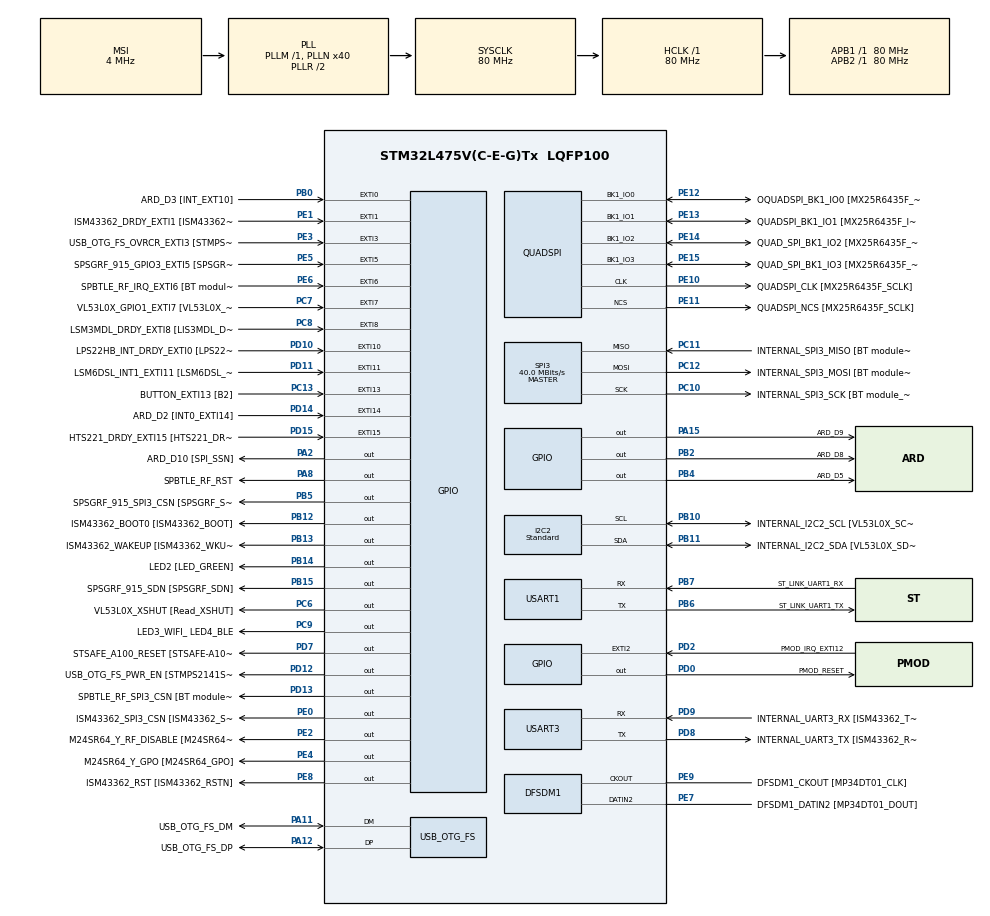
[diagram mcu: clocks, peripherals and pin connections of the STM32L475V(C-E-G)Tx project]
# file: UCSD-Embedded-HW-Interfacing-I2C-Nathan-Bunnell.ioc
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PD12.GPIO_Label=USB_OTG_FS_PWR_EN [STMPS2141STR_EN]
SPI3.Direction=SPI_DIRECTION_2LINES
SPI3.VirtualType=VM_MASTER
QUADSPI.ClockPrescaler=2
PB10.Mode=I2C
PC12.Signal=SPI3_MOSI
PB14.GPIO_Label=LED2 [LED_GREEN]
PC6.GPIO_Label=VL53L0X_XSHUT [Read_XSHUT]
PA6.GPIO_Label=ARD_D12 [SPI1_MISO]
PB6.GPIO_Label=ST_LINK_UART1_TX
PA15\ (JTDI).Signal=GPIO_Output
PC15-OSC32_OUT\ (PC15).Mode=LSE-External-Oscillator
PB13.Signal=GPIO_Output
PD6.GPIO_Label=PMOD_UART2_RX
PE6.GPIO_Label=SPBTLE_RF_IRQ_EXTI6 [BT module_SPI_IRQ]
RCC.SYSCLKSource=RCC_SYSCLKSOURCE_PLLCLK
PC14-OSC32_IN\ (PC14).Mode=LSE-External-Oscillator
SH.ADCx_IN16.0=ADC1_IN16
USART3.VirtualMode-Asynchronous=VM_ASYNC
PA14\ (JTCK-SWCLK).Signal=SYS_JTCK-SWCLK
PD4.Signal=USART2_RTS
I2C2.I2C_Speed_Mode=I2C_Standard
RCC.APB2TimFreq_Value=80000000
Dma.I2C2_TX.0.MemDataAlignment=DMA_MDATAALIGN_BYTE
PB6.Signal=USART1_TX
PC7.Signal=GPXTI7
PB6.Mode=Asynchronous
PC3.Signal=ADCx_IN4
PD0.Signal=GPIO_Output
PD8.Signal=USART3_TX
PE5.Signal=GPXTI5
PE1.Signal=GPXTI1
QUADSPI.FlashSize=23
Dma.I2C2_RX.1.Mode=DMA_NORMAL
NVIC.EXTI15_10_IRQn=true\:0\:0\:false\:false\:true\:true\:true
PB2.Signal=GPIO_Output
PD1.GPIO_Label=PMOD_SPI2_SCK
PB12.GPIO_Label=ISM43362_BOOT0 [ISM43362_BOOT]
PC4.GPIO_Label=ARD_A1 [ADC]
PE9.Signal=S_CKOUTDFSDM1
PB1.GPIO_Label=ARD_D6 [ADC1_IN6]
PE4.GPIO_Label=M24SR64_Y_GPO [M24SR64_GPO]
PE2.Signal=GPIO_Output
PA8.Signal=GPIO_Output
PE13.Mode=Single Bank
PE10.Signal=QUADSPI_CLK
PA0.Signal=UART4_TX
Mcu.Package=LQFP100
PB9.Signal=I2C1_SDA
PB1.Signal=ADCx_IN16
SPI3.Mode=SPI_MODE_MASTER
SH.ADCx_IN14.0=ADC1_IN14
PD12.Signal=GPIO_Output
PA10.Signal=USB_OTG_FS_ID
PE12.GPIO_Label=OQUADSPI_BK1_IO0 [MX25R6435F_IO0]
PC11.Mode=Full_Duplex_Master
Dma.I2C2_TX.0.Direction=DMA_MEMORY_TO_PERIPH
SH.ADCx_IN9.0=ADC1_IN9
Dma.I2C2_RX.1.PeriphInc=DMA_PINC_DISABLE
RCC.APB1TimFreq_Value=80000000
Dma.I2C2_RX.1.MemDataAlignment=DMA_MDATAALIGN_BYTE
NVIC.DMA1_Channel4_IRQn=true\:0\:0\:false\:false\:true\:false\:true
PA13\ (JTMS-SWDIO).Signal=SYS_JTMS-SWDIO
PE10.GPIO_Label=QUADSPI_CLK [MX25R6435F_SCLK]
PA4.GPIO_Label=ARD_D7
PD15.Signal=GPXTI15
PE12.Mode=Single Bank
Dma.I2C2_TX.0.Mode=DMA_NORMAL
PD9.GPIO_Label=INTERNAL_UART3_RX [ISM43362_TX]
PA9.GPIO_Label=USB_OTG_FS_VBUS [STMPS2141STR_OUT]
PC13.Signal=GPXTI13
PD3.Signal=USART2_CTS
PC6.Signal=GPIO_Output
PE10.Mode=Single Bank
PC2.Signal=ADCx_IN3
PB11.GPIO_Label=INTERNAL_I2C2_SDA [VL53L0X_SDA]
PD7.Signal=GPIO_Output
PD1.Signal=SPI2_SCK
PA11.GPIO_Label=USB_OTG_FS_DM
PC0.Signal=ADCx_IN1
PD10.Signal=GPXTI10
PB8.GPIO_Label=ARD_D15 [I2C1_SCL]
PA8.GPIO_Label=SPBTLE_RF_RST
PB11.Mode=I2C
PE8.GPIO_Label=ISM43362_RST [ISM43362_RSTN]
PA9.Signal=USB_OTG_FS_VBUS
PE9.GPIO_Label=DFSDM1_CKOUT [MP34DT01_CLK]
PD8.Mode=Asynchronous
PB10.Signal=I2C2_SCL
PB14.Signal=GPIO_Output
Dma.I2C2_RX.1.Instance=DMA1_Channel5
PA5.Signal=SPI1_SCK
PC12.Mode=Full_Duplex_Master
PE1.GPIO_Label=ISM43362_DRDY_EXTI1 [ISM43362_DATARDY]
PE14.Signal=QUADSPI_BK1_IO2
PE15.Signal=QUADSPI_BK1_IO3
Dma.I2C2_RX.1.Direction=DMA_PERIPH_TO_MEMORY
PB15.GPIO_Label=SPSGRF_915_SDN [SPSGRF_SDN]
PE8.Signal=GPIO_Output
Dma.I2C2_TX.0.Instance=DMA1_Channel4
PA1.GPIO_Label=ARD_D0 [UART4_RX]
SH.ADCx_IN4.0=ADC1_IN4
QUADSPI.FifoThreshold=4
PC7.GPIO_Label=VL53L0X_GPIO1_EXTI7 [VL53L0X_GPIO1]
PA13\ (JTMS-SWDIO).Mode=Serial_Wire
PA4.Signal=ADCx_IN9
PB5.Signal=GPIO_Output
PE13.GPIO_Label=QUADSPI_BK1_IO1 [MX25R6435F_IO1]
PA5.GPIO_Label=ARD_D13 [SPI1_SCK]
PD11.Signal=GPXTI11
PE5.GPIO_Label=SPSGRF_915_GPIO3_EXTI5 [SPSGRF_GPIO_3]
PC12.GPIO_Label=INTERNAL_SPI3_MOSI [BT module_SPI_MOSI] [ISM43362_MOSI]
PA11.Signal=USB_OTG_FS_DM
ProjectManager.HeapSize=0x200
NVIC.PriorityGroup=NVIC_PRIORITYGROUP_4
PE3.Signal=GPXTI3
PC3.GPIO_Label=ARD_A2 [ADC]
PB4\ (NJTRST).GPIO_Label=ARD_D5
Dma.I2C2_TX.0.MemInc=DMA_MINC_ENABLE
PD2.Signal=GPXTI2
PB0.Signal=GPXTI0
PC1.Signal=ADCx_IN2
PD2.GPIO_Label=PMOD_IRQ_EXTI12
PE15.Mode=Single Bank
Mcu.Family=STM32L4
RCC.CortexFreq_Value=80000000
NVIC.DMA1_Channel5_IRQn=true\:0\:0\:false\:false\:true\:false\:true
Dma.I2C2_TX.0.Priority=DMA_PRIORITY_LOW
PE11.GPIO_Label=QUADSPI_NCS [MX25R6435F_SCLK]
SH.ADCx_IN2.0=ADC1_IN2
PC10.Signal=SPI3_SCK
I2C2.Timing=0x10909CEC
PA0.GPIO_Label=ARD_D1 [UART4_TX]
PC0.GPIO_Label=ARD_A5 [ADC]
PD0.GPIO_Label=PMOD_RESET
PA11.Mode=Device_Only
PB0.GPIO_Label=ARD_D3 [INT_EXT10]
PC13.GPIO_Label=BUTTON_EXTI13 [B2]
PB13.GPIO_Label=ISM43362_WAKEUP [ISM43362_WKUP]
PB11.Signal=I2C2_SDA
PB15.Signal=GPIO_Output
PD9.Mode=Asynchronous
ProjectManager.StackSize=0x400
PB3\ (JTDO-TRACESWO).Signal=SYS_JTDO-SWO
PD13.Signal=GPIO_Output
PA12.Signal=USB_OTG_FS_DP
PE11.Mode=Single Bank
PD11.GPIO_Label=LSM6DSL_INT1_EXTI11 [LSM6DSL_INT1]
RCC.HCLKFreq_Value=80000000
SH.ADCx_IN3.0=ADC1_IN3
Dma.I2C2_RX.1.MemInc=DMA_MINC_ENABLE
PB5.PinState=GPIO_PIN_SET
RCC.AHBFreq_Value=80000000
RCC.HSE_VALUE=8000000
PE13.Signal=QUADSPI_BK1_IO1
PC11.GPIO_Label=INTERNAL_SPI3_MISO [BT module_SPI_MISO] [ISM43362_MISO]
PA10.GPIO_Label=USB_OTG_FS_ID
PB7.Signal=USART1_RX
PE4.Signal=GPIO_Output
QUADSPI.SampleShifting=QSPI_SAMPLE_SHIFTING_HALFCYCLE
PD7.GPIO_Label=STSAFE_A100_RESET [STSAFE-A100_RESET]
PB7.GPIO_Label=ST_LINK_UART1_RX
PD13.GPIO_Label=SPBTLE_RF_SPI3_CSN [BT module_SPI_CS]
PA6.Signal=SPI1_MISO
PD5.GPIO_Label=PMOD_UART2_TX
PA2.GPIO_Label=ARD_D10 [SPI_SSN]
USB_OTG_FS.VirtualMode=Device_Only
PE0.GPIO_Label=ISM43362_SPI3_CSN [ISM43362_SSN]
SH.ADCx_IN1.0=ADC1_IN1
PB5.GPIO_Label=SPSGRF_915_SPI3_CSN [SPSGRF_SPI_CS]
Dma.Request1=I2C2_RX
PC5.Signal=ADCx_IN14
PD3.GPIO_Label=PMOD_UART2_CTS
PE7.Signal=S_DATAIN2DFSDM1
PD6.Signal=USART2_RX
Dma.Request0=I2C2_TX
PE2.GPIO_Label=M24SR64_Y_RF_DISABLE [M24SR64_RFDIS]
PC2.GPIO_Label=ARD_A3 [ADC]
RCC.PLLSAI1N=24
PA3.Signal=S_TIM2_CH4
RCC.MSI_VALUE=4000000
PA14\ (JTCK-SWCLK).Mode=Serial_Wire
SH.ADCx_IN13.0=ADC1_IN13
PD15.GPIO_Label=HTS221_DRDY_EXTI15 [HTS221_DRDY]
PB9.GPIO_Label=ARD_D14 [I2C1_SDA]
PC10.GPIO_Label=INTERNAL_SPI3_SCK [BT module_SPI_SCLK] [ISM43362_SCK]
PC9.GPIO_Label=LED3_WIFI_ LED4_BLE
PC11.Signal=SPI3_MISO
PC8.Signal=GPXTI8
PC4.Signal=ADCx_IN13
PC10.Mode=Full_Duplex_Master
SH.S_DATAIN2DFSDM1.0=DFSDM1_DATIN2,PDM_SPI_Input_from_ch12_and_Internal_Clock
PE14.GPIO_Label=QUAD_SPI_BK1_IO2 [MX25R6435F_IO2]
PC15-OSC32_OUT\ (PC15).Signal=RCC_OSC32_OUT
PD9.Signal=USART3_RX
PD5.Signal=USART2_TX
PA14\ (JTCK-SWCLK).GPIO_Label=SYS_JTCK_SWCLK
PB3\ (JTDO-TRACESWO).GPIO_Label=SYS_JTD0_SWO
Dma.I2C2_TX.0.PeriphInc=DMA_PINC_DISABLE
PA12.GPIO_Label=USB_OTG_FS_DP
PD8.GPIO_Label=INTERNAL_UART3_TX [ISM43362_RX]
PC8.GPIO_Label=LSM3MDL_DRDY_EXTI8 [LIS3MDL_DRDY]
USART1.VirtualMode-Asynchronous=VM_ASYNC
PE0.PinState=GPIO_PIN_SET
PE15.GPIO_Label=QUAD_SPI_BK1_IO3 [MX25R6435F_IO3]
ProjectManager.TargetToolchain=STM32CubeIDE
PB10.GPIO_Label=INTERNAL_I2C2_SCL [VL53L0X_SCL]
RCC.USBFreq_Value=48000000
PD10.GPIO_Label=LPS22HB_INT_DRDY_EXTI0 [LPS22HB_INT_DRDY] 
PE11.Signal=QUADSPI_NCS
PA1.Signal=UART4_RX
Dma.I2C2_RX.1.PeriphDataAlignment=DMA_PDATAALIGN_BYTE
board=B-L475E-IOT01A1
RCC.VCOOutputFreq_Value=160000000
RCC.APB2Freq_Value=80000000
SPI3.CalculateBaudRate=40.0 MBits/s
PA13\ (JTMS-SWDIO).GPIO_Label=SYS_JTMS_SWDIO
PD4.GPIO_Label=PMOD_UART2_RTS
PE14.Mode=Single Bank
SH.S_CKOUTDFSDM1.0=DFSDM1_CKOUT,CKOUT
SH.S_CKOUTDFSDM1.1=DFSDM1_CKOUT,PDM_SPI_Input_from_ch12_and_Internal_Clock
RCC.ADCFreq_Value=48000000
PC1.GPIO_Label=ARD_A4 [ADC]
PD14.GPIO_Label=ARD_D2 [INT0_EXTI14]
PE6.Signal=GPXTI6
PA15\ (JTDI).GPIO_Label=ARD_D9
I2C2.Speed=100
Mcu.Name=STM32L475V(C-E-G)Tx
PE0.Signal=GPIO_Output
PE7.GPIO_Label=DFSDM1_DATIN2 [MP34DT01_DOUT]
PE12.Signal=QUADSPI_BK1_IO0
PA2.Signal=GPIO_Output
PD14.Signal=GPXTI14
RCC.SYSCLKFreq_VALUE=80000000
PA7.GPIO_Label=ARD_D11 [SPI1_MOSI]
PA12.Mode=Device_Only
PC13.GPIO_ModeDefaultEXTI=GPIO_MODE_IT_FALLING
PC5.GPIO_Label=ARD_A0 [ADC]
PC14-OSC32_IN\ (PC14).Signal=RCC_OSC32_IN
PB7.Mode=Asynchronous
NVIC.EXTI9_5_IRQn=true\:0\:0\:false\:false\:true\:true\:true
PB2.GPIO_Label=ARD_D8
SH.S_TIM2_CH4.0=TIM2_CH4
NVIC.I2C2_EV_IRQn=true\:0\:0\:false\:false\:true\:true\:true
RCC.HSI_VALUE=16000000
RCC.PLLN=40
Dma.I2C2_TX.0.PeriphDataAlignment=DMA_PDATAALIGN_BYTE
PB8.Signal=I2C1_SCL
PE3.GPIO_Label=USB_OTG_FS_OVRCR_EXTI3 [STMPS2141STR_FAULT]
PC9.Signal=GPIO_Output
Dma.I2C2_RX.1.Priority=DMA_PRIORITY_LOW
PD13.PinState=GPIO_PIN_SET
RCC.APB1Freq_Value=80000000
PB12.Signal=GPIO_Output
PA3.GPIO_Label=ARD_D4
PA7.Signal=SPI1_MOSI
PB4\ (NJTRST).Signal=GPIO_Output

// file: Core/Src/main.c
/* USER CODE BEGIN Header */
/**
  ******************************************************************************
  * @file           : main.c
  * @brief          : Main program body
  ******************************************************************************
  * @attention
  *
  * <h2><center>&copy; Copyright (c) 2021 STMicroelectronics.
  * All rights reserved.</center></h2>
  *
  * This software component is licensed by ST under BSD 3-Clause license,
  * the "License"; You may not use this file except in compliance with the
  * License. You may obtain a copy of the License at:
  *                        opensource.org/licenses/BSD-3-Clause
  *
  ******************************************************************************
  */
/* USER CODE END Header */
#include "main.h"

/* USER CODE BEGIN Includes */

#include <stdio.h>
#include <string.h>

/* USER CODE END Includes */

/* USER CODE BEGIN PD */

// Define R/W addresses for temp sensor
#define HST221_READ_ADDRESS 0xbf
#define HST221_WRITE_ADDRESS 0xbe

/* USER CODE END PD */

DFSDM_Channel_HandleTypeDef hdfsdm1_channel1;

I2C_HandleTypeDef hi2c2;
DMA_HandleTypeDef hdma_i2c2_tx;
DMA_HandleTypeDef hdma_i2c2_rx;

QSPI_HandleTypeDef hqspi;

SPI_HandleTypeDef hspi3;

UART_HandleTypeDef huart1;
UART_HandleTypeDef huart3;

PCD_HandleTypeDef hpcd_USB_OTG_FS;

void SystemClock_Config(void);
static void MX_GPIO_Init(void);
static void MX_DMA_Init(void);
static void MX_DFSDM1_Init(void);
static void MX_I2C2_Init(void);
static void MX_QUADSPI_Init(void);
static void MX_SPI3_Init(void);
static void MX_USART1_UART_Init(void);
static void MX_USART3_UART_Init(void);
static void MX_USB_OTG_FS_PCD_Init(void);
/* USER CODE BEGIN PFP */

static void HST221_pwr_en(void);
static void do_who_am_i(void);
static void do_temp_polling(void);
static void do_temp_interrupt(void);
static void do_temp_dma(void);
static void do_temp_interrupt_EXTI(void);

/* USER CODE END PFP */

/* USER CODE BEGIN 0 */

static void HST221_pwr_en(void)
{
    // Large-ish char buffer for strings sent over the console
    char buffer[100] = {0};

	// Configure control register 1 (CTRL_REG1, 0x20) bit 7 to enable one-shot
    uint8_t ctrlReg1 = 0x20;
    uint8_t ctrlData[] = {ctrlReg1, (1 << 7)};

    // Send the target register to the device and get status back
    HAL_StatusTypeDef status;
    status = HAL_I2C_Master_Transmit(&hi2c2, HST221_WRITE_ADDRESS, ctrlData, sizeof(ctrlData), 1000);

    // Print status results over UART1 to console session
    snprintf(buffer, sizeof(buffer), "\n(HST221 Power-Down Control) HAL_I2C_Master_Transmit: status %u\n", status);
    HAL_UART_Transmit(&huart1, (uint8_t*) buffer, strlen(buffer), 1000);

    // Read response back to get value of WHO_AM_I register
	uint8_t mode = 0xff;    // Default value should be 0 according to datasheet, target is 1 for enabled
	status = HAL_I2C_Master_Receive(&hi2c2, HST221_READ_ADDRESS, &mode, sizeof(mode), 1000);

	// Print status results and response value over UART1 to console session
	snprintf(buffer, sizeof(buffer), "(HST221 Power-Down Control) HAL_I2C_Master_Receive status: %u; mode: 0x%x\n", status, mode);
	HAL_UART_Transmit(&huart1, (uint8_t*) buffer, strlen(buffer), 1000);
}

static void do_who_am_i(void)
{
    // Declare address of the device's WHO_AM_I register
    uint8_t whoAmIReg = 0xf;

    // Send the target register to the device and get status back
    HAL_StatusTypeDef status;
    status = HAL_I2C_Master_Transmit(&hi2c2, HST221_WRITE_ADDRESS, &whoAmIReg, sizeof(whoAmIReg), 1000);

    // Print status results over UART1 to console session
    char buffer[100] = {0};
    snprintf(buffer, sizeof(buffer), "\tHAL_I2C_Master_Transmit status: %u\n", status);
    HAL_UART_Transmit(&huart1, (uint8_t*) buffer, strlen(buffer), 1000);

    // Read response back to get value of WHO_AM_I register
    uint8_t data = 0xff;    // Default value should be 0xbc according to datasheet
    status = HAL_I2C_Master_Receive(&hi2c2, HST221_READ_ADDRESS, &data, sizeof(data), 1000);

    // Print status results and response value over UART1 to console session
    snprintf(buffer, sizeof(buffer), "\tHAL_I2C_Master_Receive status: %u; data: 0x%x\n\n", status, data);
    HAL_UART_Transmit(&huart1, (uint8_t*) buffer, strlen(buffer), 1000);
}

static void do_temp_polling(void)
{
    // Large-ish char buffer for strings sent over the console
    char buffer[100] = {0};

	// Configure control register 2 (CTRL_REG2, 0x21) bit 0 to enable one-shot
    uint8_t ctrlReg2 = 0x21;
    uint8_t ctrlData[] = {ctrlReg2, (1 << 0)};

    // Send the target register to the device and get status back
    HAL_StatusTypeDef status;
    status = HAL_I2C_Master_Transmit(&hi2c2, HST221_WRITE_ADDRESS, ctrlData, sizeof(ctrlData), 1000);

    // Print status results over UART1 to console session
    snprintf(buffer, sizeof(buffer), "\t(One-shot enabled): HAL_I2C_Master_Transmit: status %u\n", status);
    HAL_UART_Transmit(&huart1, (uint8_t*) buffer, strlen(buffer), 1000);

    // Define status register (STATUS_REG2, 0x27) bit 0 to monitor for new sample available
    uint8_t statusReg = 0x27;
    uint8_t sampleReady = 0;

    // Loiter for a bit to allow time for conversion to complete and be made available
    uint8_t count = 0;
    while (count < 10)  // 10 is an arbitrary "long enough" value, this wouldn't always be great real-world practice
    {
        // Send the address of the status register and report it over the console
        status = HAL_I2C_Master_Transmit(&hi2c2, HST221_WRITE_ADDRESS, &statusReg, sizeof(statusReg), 1000);
        snprintf(buffer, sizeof(buffer), "\t[%d] (status register): HAL_I2C_Master_Transmit: status %u\n", count, status);
        HAL_UART_Transmit(&huart1, (uint8_t*) buffer, strlen(buffer), 1000);

        // Read back the value of the status register and report it over the console
        status = HAL_I2C_Master_Receive(&hi2c2, HST221_READ_ADDRESS, (uint8_t *)&sampleReady, sizeof(sampleReady), 1000);
        snprintf(buffer, sizeof(buffer), "\tStatus register: 0x%02x\n", sampleReady);
        HAL_UART_Transmit(&huart1, (uint8_t*) buffer, strlen(buffer), 1000);

        // If the new sample is ready, report it to the console and break out of while-loop...
        if (sampleReady & 0x01)
        {
            snprintf(buffer, sizeof(buffer), "\tNew Temperature Sample Available!\n");
            HAL_UART_Transmit(&huart1, (uint8_t*) buffer, strlen(buffer), 1000);
            break;
        }

        // Else wait for a bit, increment the counter, and keep looping
        HAL_Delay(100);
        count++;
    }

    // With new sample ready, practice solutions implemented with reading sequentially from
    //  the LSB and MSB registers (0x2a and 0x2b) as well as via auto-increment
    static uint8_t toggle = 1;

    if (toggle)
    {
        toggle = 0;

        // Reading the lower half of the temperature register
        // Send target address
        uint8_t tempRegLSB = 0x2a;
        status = HAL_I2C_Master_Transmit(&hi2c2, HST221_WRITE_ADDRESS, &tempRegLSB, sizeof(tempRegLSB), 1000);
        snprintf(buffer, sizeof(buffer), "\t(LSB): HAL_I2C_Master_Transmit: status: %u\n", status);
        HAL_UART_Transmit(&huart1, (uint8_t*) buffer, strlen(buffer), 1000);

        // Read response back and print over console
        uint8_t tempDataLSB = 0xff; // Junk default value
        status = HAL_I2C_Master_Receive(&hi2c2, HST221_READ_ADDRESS, (uint8_t *)&tempDataLSB, sizeof(tempDataLSB), 1000);
        snprintf(buffer, sizeof(buffer), "\t(LSB): HAL_I2C_Master_Receive: status: %u; LSB data: 0x%02x\n", status, tempDataLSB);
        HAL_UART_Transmit(&huart1, (uint8_t*) buffer, strlen(buffer), 1000);

        // Reading the upper half of the temperature register
        // Send target address
        uint8_t tempRegMSB = 0x2b;
        status = HAL_I2C_Master_Transmit(&hi2c2, HST221_WRITE_ADDRESS, &tempRegMSB, sizeof(tempRegMSB), 1000);
        snprintf(buffer, sizeof(buffer), "\t(MSB): HAL_I2C_Master_Transmit: status: %u\n", status);
        HAL_UART_Transmit(&huart1, (uint8_t*) buffer, strlen(buffer), 1000);

        // Read response back and print over console
        uint8_t tempDataMSB = 0xff; // Junk default value
        status = HAL_I2C_Master_Receive(&hi2c2, HST221_READ_ADDRESS, (uint8_t *)&tempDataMSB, sizeof(tempDataMSB), 1000);
        snprintf(buffer, sizeof(buffer), "\t(MSB): HAL_I2C_Master_Receive: status: %u; MSB data: 0x%02x\n\n", status, tempDataMSB);
        HAL_UART_Transmit(&huart1, (uint8_t*) buffer, strlen(buffer), 1000);
    }
    else
    {
        toggle = 1;

        // Reading the lower half of the temperature register with auto-increment enabled
        // Send target address (OR'ing with 0x80 enables auto-inc)
        uint8_t tempRegLSB = 0x2a | 0x80;
        status = HAL_I2C_Master_Transmit(&hi2c2, HST221_WRITE_ADDRESS, &tempRegLSB, sizeof(tempRegLSB), 1000);
        snprintf(buffer, sizeof(buffer), "\t(Auto-increment): HAL_I2C_Master_Transmit: status: %u\n", status);
        HAL_UART_Transmit(&huart1, (uint8_t*) buffer, strlen(buffer), 1000);

        // Read response back for both registers and print over console
        uint16_t tempData = 0xbeef; // Junk default value (ALSO REALLY HOT!)
        status = HAL_I2C_Master_Receive(&hi2c2, HST221_READ_ADDRESS, (uint8_t *)&tempData, sizeof(tempData), 1000);
        snprintf(buffer, sizeof(buffer), "\t(Auto-increment): HAL_I2C_Master_Receive: status: %u; temperature data: 0x%04x\n\n", status, tempData);
        HAL_UART_Transmit(&huart1, (uint8_t*) buffer, strlen(buffer), 1000);
    }

}

// Define a pair of IRQ status flags and the I2C interrupt callback functions
static uint8_t irqCompleteTX = 0;
static uint8_t irqCompleteRX = 0;

// Used for IT/DMA access
uint16_t tempData = 0xffff; // Junk default value (ALSO REALLY HOT!)

void HAL_I2C_MasterTxCpltCallback(I2C_HandleTypeDef *hi2c)
{
    // Indicate something on the board
    HAL_GPIO_TogglePin(LED2_GPIO_Port, LED2_Pin);

    // Set status flag
    irqCompleteTX = 1;
}

void HAL_I2C_MasterRxCpltCallback(I2C_HandleTypeDef *hi2c)
{
    // Indicate something on the board
    HAL_GPIO_TogglePin(LED2_GPIO_Port, LED2_Pin);

    // Set status flag
    irqCompleteRX = 1;
}

static void do_temp_interrupt(void)
{
	// Clear flags
	irqCompleteTX = 0;
	irqCompleteRX = 0;

    // Large-ish char buffer for strings sent over the console
    char buffer[100] = {0};

	// Configure control register 2 (CTRL_REG2, 0x21) bit 0 to enable one-shot
    uint8_t ctrlReg2 = 0x21;
    uint8_t ctrlData[] = {ctrlReg2, 0x01};

    // Send the target register to the device and get status back using the *_IT function
    HAL_StatusTypeDef status;
    status = HAL_I2C_Master_Transmit_IT(&hi2c2, HST221_WRITE_ADDRESS, ctrlData, sizeof(ctrlData));

    // Print status results over UART1 to console session
    snprintf(buffer, sizeof(buffer), "\t(One-shot enabled): HAL_I2C_Master_Transmit_IT: status %u\n", status);
    HAL_UART_Transmit(&huart1, (uint8_t*) buffer, strlen(buffer), 1000);

    // Wait for interrupt to complete
	while (irqCompleteTX == 0)
	{
		HAL_Delay(1000);
	}

	// Clear flag
	irqCompleteTX = 0;

    // Reading the lower half of the temperature register with auto-increment enabled
	// Send target address (OR'ing with 0x80 enables auto-inc)
	uint8_t tempRegLSB = 0x2a | 0x80;
	status = HAL_I2C_Master_Transmit_IT(&hi2c2, HST221_WRITE_ADDRESS, &tempRegLSB, sizeof(tempRegLSB));
	snprintf(buffer, sizeof(buffer), "\t(Auto-increment): HAL_I2C_Master_Transmit_IT: status: %u\n", status);
	HAL_UART_Transmit(&huart1, (uint8_t*) buffer, strlen(buffer), 1000);

    // Wait for interrupt to complete
	while (irqCompleteTX == 0)
	{
		HAL_Delay(1000);
	}

	// Read response back for both registers and print over console
	status = HAL_I2C_Master_Receive_IT(&hi2c2, HST221_READ_ADDRESS, (uint8_t *)&tempData, sizeof(tempData));
	snprintf(buffer, sizeof(buffer), "\t(Auto-increment): HAL_I2C_Master_Receive_IT: status: %u; temperature data: 0x%04x\n\n", status, tempData);
	HAL_UART_Transmit(&huart1, (uint8_t*) buffer, strlen(buffer), 1000);
}

static void do_temp_dma(void)
{
	// Clear flags
    irqCompleteTX = 0;
    irqCompleteRX = 0;

    // Large-ish char buffer for strings sent over the console
    char buffer[100] = {0};

	// Configure control register 2 (CTRL_REG2, 0x21) bit 0 to enable one-shot
    uint8_t ctrlReg2 = 0x21;
    uint8_t ctrlData[] = {ctrlReg2, 0x01};

    // Send the target register to the device and get status back using the *_DMA function
    HAL_StatusTypeDef status;
    status = HAL_I2C_Master_Transmit_DMA(&hi2c2, HST221_WRITE_ADDRESS, ctrlData, sizeof(ctrlData));

    // Print status results over UART1 to console session
    snprintf(buffer, sizeof(buffer), "\t(One-shot enabled): HAL_I2C_Master_Transmit_DMA: status %u\n", status);
    HAL_UART_Transmit(&huart1, (uint8_t*) buffer, strlen(buffer), 1000);

    // Wait for interrupt to complete
	while (irqCompleteTX == 0)
	{
		HAL_Delay(100);
	}

	// Clear flag
	irqCompleteTX = 0;

    // Reading the lower half of the temperature register with auto-increment enabled
	// Send target address (OR'ing with 0x80 enables auto-inc)
	uint8_t tempRegLSB = 0x2a | 0x80;
	status = HAL_I2C_Master_Transmit_DMA(&hi2c2, HST221_WRITE_ADDRESS, &tempRegLSB, sizeof(tempRegLSB));
	snprintf(buffer, sizeof(buffer), "\t(Auto-increment): HAL_I2C_Master_Transmit_DMA: status: %u\n", status);
	HAL_UART_Transmit(&huart1, (uint8_t*) buffer, strlen(buffer), 1000);

    // Wait for interrupt to complete
    while (irqCompleteTX == 0)
    {
        HAL_Delay(100);
    }

    // Read response back for both registers and print over console
	status = HAL_I2C_Master_Receive_DMA(&hi2c2, HST221_READ_ADDRESS, (uint8_t *)&tempData, sizeof(tempData));
	snprintf(buffer, sizeof(buffer), "\t(Auto-increment): HAL_I2C_Master_Receive_DMA: status: %u; temperature data: 0x%04x\n\n", status, tempData);
	HAL_UART_Transmit(&huart1, (uint8_t*) buffer, strlen(buffer), 1000);
}

static void do_temp_interrupt_EXTI(void)
{
    ; // TO DO
}

/* USER CODE END 0 */

int main(void)
{

  /* MCU Configuration--------------------------------------------------------*/

  /* Reset of all peripherals, Initializes the Flash interface and the Systick. */
  HAL_Init();

  /* Configure the system clock */
  SystemClock_Config();

  /* Initialize all configured peripherals */
  MX_GPIO_Init();
  MX_DMA_Init();
  MX_DFSDM1_Init();
  MX_I2C2_Init();
  MX_QUADSPI_Init();
  MX_SPI3_Init();
  MX_USART1_UART_Init();
  MX_USART3_UART_Init();
  MX_USB_OTG_FS_PCD_Init();
  /* USER CODE BEGIN 2 */

  	// Enable the HST221 PD bit in CR1 to allow collection of samples
    HST221_pwr_en();

    // Header info for CLI
    char* cliHeader = "\nsimpleCLI Interface v0.2\n------------------------------\n";
    HAL_UART_Transmit(&huart1, (uint8_t*) cliHeader, strlen(cliHeader), 1000);

  /* USER CODE END 2 */

  /* Infinite loop */
    while (1)
    {

    /* USER CODE BEGIN 3 */

  	   /************************************
  	    * User Story 1 implementation begin:
  	    *
  	    * 	Define a simple CLI with options
  	    * 	for a who am i request, or a
        *   temperature read via polling,
        *   interrupt, or DMA read from the
        *   sensor over the I2C bus
  	    *
  	    ***********************************/

  	  // Define strings to structure prompt around
  	  char* cliPrompt = "Options:\n\t1: \"WHO AM I\" read\n\t2: Temperature read (polling mode)\n\t3: Temperature read (interrupt mode)\n\t4: Temperature read (DMA mode)\n\t5: *TODO* Temperature read (EXTI mode) *TODO*\r\n$> ";
  	  char* cliResponse = "Invalid input!\r\n";

  	  // Issue prompt
  	  HAL_UART_Transmit(&huart1, (uint8_t*) cliPrompt, strlen(cliPrompt), 1000);

  	  // Get the user selection and echo it on the terminal
  	  char cliInput;
  	  HAL_UART_Receive(&huart1, (uint8_t*) &cliInput, 1, HAL_MAX_DELAY);
  	  HAL_UART_Transmit(&huart1, (uint8_t*) &cliInput, 1, 1000);

  	  // Evaluate input
  	  switch (cliInput)
  	  {
          case '1':
              cliResponse = "\r\n\"WHO AM I\" request:\n";
              HAL_UART_Transmit(&huart1, (uint8_t*) cliResponse, strlen(cliResponse), 1000);
              do_who_am_i();
              break;

          case '2':
              cliResponse = "\r\nTemperature read (poll) request:\n";
              HAL_UART_Transmit(&huart1, (uint8_t*) cliResponse, strlen(cliResponse), 1000);
              do_temp_polling();
              break;

          case '3':
              cliResponse = "\r\nTemperature read (IT) request:\n";
              HAL_UART_Transmit(&huart1, (uint8_t*) cliResponse, strlen(cliResponse), 1000);
              do_temp_interrupt();
              break;

          case '4':
              cliResponse = "\r\nTemperature read (DMA) request:\n";
              HAL_UART_Transmit(&huart1, (uint8_t*) cliResponse, strlen(cliResponse), 1000);
              do_temp_dma();
              break;

          case '5':
              cliResponse = "\r\nTemperature read (EXTI) request:\n";
              HAL_UART_Transmit(&huart1, (uint8_t*) cliResponse, strlen(cliResponse), 1000);
              do_temp_interrupt_EXTI();
              break;

          default:
              HAL_UART_Transmit(&huart1, (uint8_t*) cliResponse, strlen(cliResponse), 1000);
              break;
  	  }

    }
  /* USER CODE END 3 */
}

void SystemClock_Config(void)
{
  RCC_OscInitTypeDef RCC_OscInitStruct = {0};
  RCC_ClkInitTypeDef RCC_ClkInitStruct = {0};
  RCC_PeriphCLKInitTypeDef PeriphClkInit = {0};

  /** Configure LSE Drive Capability
  */
  HAL_PWR_EnableBkUpAccess();
  __HAL_RCC_LSEDRIVE_CONFIG(RCC_LSEDRIVE_LOW);
  /** Initializes the RCC Oscillators according to the specified parameters
  * in the RCC_OscInitTypeDef structure.
  */
  RCC_OscInitStruct.OscillatorType = RCC_OSCILLATORTYPE_LSE|RCC_OSCILLATORTYPE_MSI;
  RCC_OscInitStruct.LSEState = RCC_LSE_ON;
  RCC_OscInitStruct.MSIState = RCC_MSI_ON;
  RCC_OscInitStruct.MSICalibrationValue = 0;
  RCC_OscInitStruct.MSIClockRange = RCC_MSIRANGE_6;
  RCC_OscInitStruct.PLL.PLLState = RCC_PLL_ON;
  RCC_OscInitStruct.PLL.PLLSource = RCC_PLLSOURCE_MSI;
  RCC_OscInitStruct.PLL.PLLM = 1;
  RCC_OscInitStruct.PLL.PLLN = 40;
  RCC_OscInitStruct.PLL.PLLP = RCC_PLLP_DIV7;
  RCC_OscInitStruct.PLL.PLLQ = RCC_PLLQ_DIV2;
  RCC_OscInitStruct.PLL.PLLR = RCC_PLLR_DIV2;
  if (HAL_RCC_OscConfig(&RCC_OscInitStruct) != HAL_OK)
  {
    Error_Handler();
  }
  /** Initializes the CPU, AHB and APB buses clocks
  */
  RCC_ClkInitStruct.ClockType = RCC_CLOCKTYPE_HCLK|RCC_CLOCKTYPE_SYSCLK
                              |RCC_CLOCKTYPE_PCLK1|RCC_CLOCKTYPE_PCLK2;
  RCC_ClkInitStruct.SYSCLKSource = RCC_SYSCLKSOURCE_PLLCLK;
  RCC_ClkInitStruct.AHBCLKDivider = RCC_SYSCLK_DIV1;
  RCC_ClkInitStruct.APB1CLKDivider = RCC_HCLK_DIV1;
  RCC_ClkInitStruct.APB2CLKDivider = RCC_HCLK_DIV1;

  if (HAL_RCC_ClockConfig(&RCC_ClkInitStruct, FLASH_LATENCY_4) != HAL_OK)
  {
    Error_Handler();
  }
  PeriphClkInit.PeriphClockSelection = RCC_PERIPHCLK_USART1|RCC_PERIPHCLK_USART3
                              |RCC_PERIPHCLK_I2C2|RCC_PERIPHCLK_DFSDM1
                              |RCC_PERIPHCLK_USB;
  PeriphClkInit.Usart1ClockSelection = RCC_USART1CLKSOURCE_PCLK2;
  PeriphClkInit.Usart3ClockSelection = RCC_USART3CLKSOURCE_PCLK1;
  PeriphClkInit.I2c2ClockSelection = RCC_I2C2CLKSOURCE_PCLK1;
  PeriphClkInit.Dfsdm1ClockSelection = RCC_DFSDM1CLKSOURCE_PCLK;
  PeriphClkInit.UsbClockSelection = RCC_USBCLKSOURCE_PLLSAI1;
  PeriphClkInit.PLLSAI1.PLLSAI1Source = RCC_PLLSOURCE_MSI;
  PeriphClkInit.PLLSAI1.PLLSAI1M = 1;
  PeriphClkInit.PLLSAI1.PLLSAI1N = 24;
  PeriphClkInit.PLLSAI1.PLLSAI1P = RCC_PLLP_DIV7;
  PeriphClkInit.PLLSAI1.PLLSAI1Q = RCC_PLLQ_DIV2;
  PeriphClkInit.PLLSAI1.PLLSAI1R = RCC_PLLR_DIV2;
  PeriphClkInit.PLLSAI1.PLLSAI1ClockOut = RCC_PLLSAI1_48M2CLK;
  if (HAL_RCCEx_PeriphCLKConfig(&PeriphClkInit) != HAL_OK)
  {
    Error_Handler();
  }
  /** Configure the main internal regulator output voltage
  */
  if (HAL_PWREx_ControlVoltageScaling(PWR_REGULATOR_VOLTAGE_SCALE1) != HAL_OK)
  {
    Error_Handler();
  }
  /** Enable MSI Auto calibration
  */
  HAL_RCCEx_EnableMSIPLLMode();
}

static void MX_DFSDM1_Init(void)
{

  hdfsdm1_channel1.Instance = DFSDM1_Channel1;
  hdfsdm1_channel1.Init.OutputClock.Activation = ENABLE;
  hdfsdm1_channel1.Init.OutputClock.Selection = DFSDM_CHANNEL_OUTPUT_CLOCK_SYSTEM;
  hdfsdm1_channel1.Init.OutputClock.Divider = 2;
  hdfsdm1_channel1.Init.Input.Multiplexer = DFSDM_CHANNEL_EXTERNAL_INPUTS;
  hdfsdm1_channel1.Init.Input.DataPacking = DFSDM_CHANNEL_STANDARD_MODE;
  hdfsdm1_channel1.Init.Input.Pins = DFSDM_CHANNEL_FOLLOWING_CHANNEL_PINS;
  hdfsdm1_channel1.Init.SerialInterface.Type = DFSDM_CHANNEL_SPI_RISING;
  hdfsdm1_channel1.Init.SerialInterface.SpiClock = DFSDM_CHANNEL_SPI_CLOCK_INTERNAL;
  hdfsdm1_channel1.Init.Awd.FilterOrder = DFSDM_CHANNEL_FASTSINC_ORDER;
  hdfsdm1_channel1.Init.Awd.Oversampling = 1;
  hdfsdm1_channel1.Init.Offset = 0;
  hdfsdm1_channel1.Init.RightBitShift = 0x00;
  if (HAL_DFSDM_ChannelInit(&hdfsdm1_channel1) != HAL_OK)
  {
    Error_Handler();
  }

}

static void MX_I2C2_Init(void)
{

  hi2c2.Instance = I2C2;
  hi2c2.Init.Timing = 0x10909CEC;
  hi2c2.Init.OwnAddress1 = 0;
  hi2c2.Init.AddressingMode = I2C_ADDRESSINGMODE_7BIT;
  hi2c2.Init.DualAddressMode = I2C_DUALADDRESS_DISABLE;
  hi2c2.Init.OwnAddress2 = 0;
  hi2c2.Init.OwnAddress2Masks = I2C_OA2_NOMASK;
  hi2c2.Init.GeneralCallMode = I2C_GENERALCALL_DISABLE;
  hi2c2.Init.NoStretchMode = I2C_NOSTRETCH_DISABLE;
  if (HAL_I2C_Init(&hi2c2) != HAL_OK)
  {
    Error_Handler();
  }
  /** Configure Analogue filter
  */
  if (HAL_I2CEx_ConfigAnalogFilter(&hi2c2, I2C_ANALOGFILTER_ENABLE) != HAL_OK)
  {
    Error_Handler();
  }
  /** Configure Digital filter
  */
  if (HAL_I2CEx_ConfigDigitalFilter(&hi2c2, 0) != HAL_OK)
  {
    Error_Handler();
  }

}

static void MX_QUADSPI_Init(void)
{

  /* QUADSPI parameter configuration*/
  hqspi.Instance = QUADSPI;
  hqspi.Init.ClockPrescaler = 2;
  hqspi.Init.FifoThreshold = 4;
  hqspi.Init.SampleShifting = QSPI_SAMPLE_SHIFTING_HALFCYCLE;
  hqspi.Init.FlashSize = 23;
  hqspi.Init.ChipSelectHighTime = QSPI_CS_HIGH_TIME_1_CYCLE;
  hqspi.Init.ClockMode = QSPI_CLOCK_MODE_0;
  if (HAL_QSPI_Init(&hqspi) != HAL_OK)
  {
    Error_Handler();
  }

}

static void MX_SPI3_Init(void)
{

  /* SPI3 parameter configuration*/
  hspi3.Instance = SPI3;
  hspi3.Init.Mode = SPI_MODE_MASTER;
  hspi3.Init.Direction = SPI_DIRECTION_2LINES;
  hspi3.Init.DataSize = SPI_DATASIZE_4BIT;
  hspi3.Init.CLKPolarity = SPI_POLARITY_LOW;
  hspi3.Init.CLKPhase = SPI_PHASE_1EDGE;
  hspi3.Init.NSS = SPI_NSS_SOFT;
  hspi3.Init.BaudRatePrescaler = SPI_BAUDRATEPRESCALER_2;
  hspi3.Init.FirstBit = SPI_FIRSTBIT_MSB;
  hspi3.Init.TIMode = SPI_TIMODE_DISABLE;
  hspi3.Init.CRCCalculation = SPI_CRCCALCULATION_DISABLE;
  hspi3.Init.CRCPolynomial = 7;
  hspi3.Init.CRCLength = SPI_CRC_LENGTH_DATASIZE;
  hspi3.Init.NSSPMode = SPI_NSS_PULSE_ENABLE;
  if (HAL_SPI_Init(&hspi3) != HAL_OK)
  {
    Error_Handler();
  }

}

static void MX_USART1_UART_Init(void)
{

  huart1.Instance = USART1;
  huart1.Init.BaudRate = 115200;
  huart1.Init.WordLength = UART_WORDLENGTH_8B;
  huart1.Init.StopBits = UART_STOPBITS_1;
  huart1.Init.Parity = UART_PARITY_NONE;
  huart1.Init.Mode = UART_MODE_TX_RX;
  huart1.Init.HwFlowCtl = UART_HWCONTROL_NONE;
  huart1.Init.OverSampling = UART_OVERSAMPLING_16;
  huart1.Init.OneBitSampling = UART_ONE_BIT_SAMPLE_DISABLE;
  huart1.AdvancedInit.AdvFeatureInit = UART_ADVFEATURE_NO_INIT;
  if (HAL_UART_Init(&huart1) != HAL_OK)
  {
    Error_Handler();
  }

}

static void MX_USART3_UART_Init(void)
{

  huart3.Instance = USART3;
  huart3.Init.BaudRate = 115200;
  huart3.Init.WordLength = UART_WORDLENGTH_8B;
  huart3.Init.StopBits = UART_STOPBITS_1;
  huart3.Init.Parity = UART_PARITY_NONE;
  huart3.Init.Mode = UART_MODE_TX_RX;
  huart3.Init.HwFlowCtl = UART_HWCONTROL_NONE;
  huart3.Init.OverSampling = UART_OVERSAMPLING_16;
  huart3.Init.OneBitSampling = UART_ONE_BIT_SAMPLE_DISABLE;
  huart3.AdvancedInit.AdvFeatureInit = UART_ADVFEATURE_NO_INIT;
  if (HAL_UART_Init(&huart3) != HAL_OK)
  {
    Error_Handler();
  }

}

static void MX_USB_OTG_FS_PCD_Init(void)
{

  hpcd_USB_OTG_FS.Instance = USB_OTG_FS;
  hpcd_USB_OTG_FS.Init.dev_endpoints = 6;
  hpcd_USB_OTG_FS.Init.speed = PCD_SPEED_FULL;
  hpcd_USB_OTG_FS.Init.phy_itface = PCD_PHY_EMBEDDED;
  hpcd_USB_OTG_FS.Init.Sof_enable = DISABLE;
  hpcd_USB_OTG_FS.Init.low_power_enable = DISABLE;
  hpcd_USB_OTG_FS.Init.lpm_enable = DISABLE;
  hpcd_USB_OTG_FS.Init.battery_charging_enable = DISABLE;
  hpcd_USB_OTG_FS.Init.use_dedicated_ep1 = DISABLE;
  hpcd_USB_OTG_FS.Init.vbus_sensing_enable = DISABLE;
  if (HAL_PCD_Init(&hpcd_USB_OTG_FS) != HAL_OK)
  {
    Error_Handler();
  }

}

static void MX_DMA_Init(void)
{

  /* DMA controller clock enable */
  __HAL_RCC_DMA1_CLK_ENABLE();

  /* DMA interrupt init */
  /* DMA1_Channel4_IRQn interrupt configuration */
  HAL_NVIC_SetPriority(DMA1_Channel4_IRQn, 0, 0);
  HAL_NVIC_EnableIRQ(DMA1_Channel4_IRQn);
  /* DMA1_Channel5_IRQn interrupt configuration */
  HAL_NVIC_SetPriority(DMA1_Channel5_IRQn, 0, 0);
  HAL_NVIC_EnableIRQ(DMA1_Channel5_IRQn);

}

static void MX_GPIO_Init(void)
{
  GPIO_InitTypeDef GPIO_InitStruct = {0};

  /* GPIO Ports Clock Enable */
  __HAL_RCC_GPIOE_CLK_ENABLE();
  __HAL_RCC_GPIOC_CLK_ENABLE();
  __HAL_RCC_GPIOA_CLK_ENABLE();
  __HAL_RCC_GPIOB_CLK_ENABLE();
  __HAL_RCC_GPIOD_CLK_ENABLE();

  /*Configure GPIO pin Output Level */
  HAL_GPIO_WritePin(GPIOE, M24SR64_Y_RF_DISABLE_Pin|M24SR64_Y_GPO_Pin|ISM43362_RST_Pin, GPIO_PIN_RESET);

  /*Configure GPIO pin Output Level */
  HAL_GPIO_WritePin(GPIOA, ARD_D10_Pin|SPBTLE_RF_RST_Pin|ARD_D9_Pin, GPIO_PIN_RESET);

  /*Configure GPIO pin Output Level */
  HAL_GPIO_WritePin(GPIOB, ARD_D8_Pin|ISM43362_BOOT0_Pin|ISM43362_WAKEUP_Pin|LED2_Pin
                          |SPSGRF_915_SDN_Pin|ARD_D5_Pin, GPIO_PIN_RESET);

  /*Configure GPIO pin Output Level */
  HAL_GPIO_WritePin(GPIOD, USB_OTG_FS_PWR_EN_Pin|PMOD_RESET_Pin|STSAFE_A100_RESET_Pin, GPIO_PIN_RESET);

  /*Configure GPIO pin Output Level */
  HAL_GPIO_WritePin(SPBTLE_RF_SPI3_CSN_GPIO_Port, SPBTLE_RF_SPI3_CSN_Pin, GPIO_PIN_SET);

  /*Configure GPIO pin Output Level */
  HAL_GPIO_WritePin(GPIOC, VL53L0X_XSHUT_Pin|LED3_WIFI__LED4_BLE_Pin, GPIO_PIN_RESET);

  /*Configure GPIO pin Output Level */
  HAL_GPIO_WritePin(SPSGRF_915_SPI3_CSN_GPIO_Port, SPSGRF_915_SPI3_CSN_Pin, GPIO_PIN_SET);

  /*Configure GPIO pin Output Level */
  HAL_GPIO_WritePin(ISM43362_SPI3_CSN_GPIO_Port, ISM43362_SPI3_CSN_Pin, GPIO_PIN_SET);

  /*Configure GPIO pins : M24SR64_Y_RF_DISABLE_Pin M24SR64_Y_GPO_Pin ISM43362_RST_Pin ISM43362_SPI3_CSN_Pin */
  GPIO_InitStruct.Pin = M24SR64_Y_RF_DISABLE_Pin|M24SR64_Y_GPO_Pin|ISM43362_RST_Pin|ISM43362_SPI3_CSN_Pin;
  GPIO_InitStruct.Mode = GPIO_MODE_OUTPUT_PP;
  GPIO_InitStruct.Pull = GPIO_NOPULL;
  GPIO_InitStruct.Speed = GPIO_SPEED_FREQ_LOW;
  HAL_GPIO_Init(GPIOE, &GPIO_InitStruct);

  /*Configure GPIO pins : USB_OTG_FS_OVRCR_EXTI3_Pin SPSGRF_915_GPIO3_EXTI5_Pin SPBTLE_RF_IRQ_EXTI6_Pin ISM43362_DRDY_EXTI1_Pin */
  GPIO_InitStruct.Pin = USB_OTG_FS_OVRCR_EXTI3_Pin|SPSGRF_915_GPIO3_EXTI5_Pin|SPBTLE_RF_IRQ_EXTI6_Pin|ISM43362_DRDY_EXTI1_Pin;
  GPIO_InitStruct.Mode = GPIO_MODE_IT_RISING;
  GPIO_InitStruct.Pull = GPIO_NOPULL;
  HAL_GPIO_Init(GPIOE, &GPIO_InitStruct);

  /*Configure GPIO pin : BUTTON_EXTI13_Pin */
  GPIO_InitStruct.Pin = BUTTON_EXTI13_Pin;
  GPIO_InitStruct.Mode = GPIO_MODE_IT_FALLING;
  GPIO_InitStruct.Pull = GPIO_NOPULL;
  HAL_GPIO_Init(BUTTON_EXTI13_GPIO_Port, &GPIO_InitStruct);

  /*Configure GPIO pins : ARD_A5_Pin ARD_A4_Pin ARD_A3_Pin ARD_A2_Pin
                           ARD_A1_Pin ARD_A0_Pin */
  GPIO_InitStruct.Pin = ARD_A5_Pin|ARD_A4_Pin|ARD_A3_Pin|ARD_A2_Pin
                          |ARD_A1_Pin|ARD_A0_Pin;
  GPIO_InitStruct.Mode = GPIO_MODE_ANALOG_ADC_CONTROL;
  GPIO_InitStruct.Pull = GPIO_NOPULL;
  HAL_GPIO_Init(GPIOC, &GPIO_InitStruct);

  /*Configure GPIO pins : ARD_D1_Pin ARD_D0_Pin */
  GPIO_InitStruct.Pin = ARD_D1_Pin|ARD_D0_Pin;
  GPIO_InitStruct.Mode = GPIO_MODE_AF_PP;
  GPIO_InitStruct.Pull = GPIO_NOPULL;
  GPIO_InitStruct.Speed = GPIO_SPEED_FREQ_VERY_HIGH;
  GPIO_InitStruct.Alternate = GPIO_AF8_UART4;
  HAL_GPIO_Init(GPIOA, &GPIO_InitStruct);

  /*Configure GPIO pins : ARD_D10_Pin SPBTLE_RF_RST_Pin ARD_D9_Pin */
  GPIO_InitStruct.Pin = ARD_D10_Pin|SPBTLE_RF_RST_Pin|ARD_D9_Pin;
  GPIO_InitStruct.Mode = GPIO_MODE_OUTPUT_PP;
  GPIO_InitStruct.Pull = GPIO_NOPULL;
  GPIO_InitStruct.Speed = GPIO_SPEED_FREQ_LOW;
  HAL_GPIO_Init(GPIOA, &GPIO_InitStruct);

  /*Configure GPIO pin : ARD_D4_Pin */
  GPIO_InitStruct.Pin = ARD_D4_Pin;
  GPIO_InitStruct.Mode = GPIO_MODE_AF_PP;
  GPIO_InitStruct.Pull = GPIO_NOPULL;
  GPIO_InitStruct.Speed = GPIO_SPEED_FREQ_LOW;
  GPIO_InitStruct.Alternate = GPIO_AF1_TIM2;
  HAL_GPIO_Init(ARD_D4_GPIO_Port, &GPIO_InitStruct);

  /*Configure GPIO pin : ARD_D7_Pin */
  GPIO_InitStruct.Pin = ARD_D7_Pin;
  GPIO_InitStruct.Mode = GPIO_MODE_ANALOG_ADC_CONTROL;
  GPIO_InitStruct.Pull = GPIO_NOPULL;
  HAL_GPIO_Init(ARD_D7_GPIO_Port, &GPIO_InitStruct);

  /*Configure GPIO pins : ARD_D13_Pin ARD_D12_Pin ARD_D11_Pin */
  GPIO_InitStruct.Pin = ARD_D13_Pin|ARD_D12_Pin|ARD_D11_Pin;
  GPIO_InitStruct.Mode = GPIO_MODE_AF_PP;
  GPIO_InitStruct.Pull = GPIO_NOPULL;
  GPIO_InitStruct.Speed = GPIO_SPEED_FREQ_VERY_HIGH;
  GPIO_InitStruct.Alternate = GPIO_AF5_SPI1;
  HAL_GPIO_Init(GPIOA, &GPIO_InitStruct);

  /*Configure GPIO pin : ARD_D3_Pin */
  GPIO_InitStruct.Pin = ARD_D3_Pin;
  GPIO_InitStruct.Mode = GPIO_MODE_IT_RISING;
  GPIO_InitStruct.Pull = GPIO_NOPULL;
  HAL_GPIO_Init(ARD_D3_GPIO_Port, &GPIO_InitStruct);

  /*Configure GPIO pin : ARD_D6_Pin */
  GPIO_InitStruct.Pin = ARD_D6_Pin;
  GPIO_InitStruct.Mode = GPIO_MODE_ANALOG_ADC_CONTROL;
  GPIO_InitStruct.Pull = GPIO_NOPULL;
  HAL_GPIO_Init(ARD_D6_GPIO_Port, &GPIO_InitStruct);

  /*Configure GPIO pins : ARD_D8_Pin ISM43362_BOOT0_Pin ISM43362_WAKEUP_Pin LED2_Pin
                           SPSGRF_915_SDN_Pin ARD_D5_Pin SPSGRF_915_SPI3_CSN_Pin */
  GPIO_InitStruct.Pin = ARD_D8_Pin|ISM43362_BOOT0_Pin|ISM43362_WAKEUP_Pin|LED2_Pin
                          |SPSGRF_915_SDN_Pin|ARD_D5_Pin|SPSGRF_915_SPI3_CSN_Pin;
  GPIO_InitStruct.Mode = GPIO_MODE_OUTPUT_PP;
  GPIO_InitStruct.Pull = GPIO_NOPULL;
  GPIO_InitStruct.Speed = GPIO_SPEED_FREQ_LOW;
  HAL_GPIO_Init(GPIOB, &GPIO_InitStruct);

  /*Configure GPIO pins : LPS22HB_INT_DRDY_EXTI0_Pin LSM6DSL_INT1_EXTI11_Pin ARD_D2_Pin HTS221_DRDY_EXTI15_Pin
                           PMOD_IRQ_EXTI12_Pin */
  GPIO_InitStruct.Pin = LPS22HB_INT_DRDY_EXTI0_Pin|LSM6DSL_INT1_EXTI11_Pin|ARD_D2_Pin|HTS221_DRDY_EXTI15_Pin
                          |PMOD_IRQ_EXTI12_Pin;
  GPIO_InitStruct.Mode = GPIO_MODE_IT_RISING;
  GPIO_InitStruct.Pull = GPIO_NOPULL;
  HAL_GPIO_Init(GPIOD, &GPIO_InitStruct);

  /*Configure GPIO pins : USB_OTG_FS_PWR_EN_Pin SPBTLE_RF_SPI3_CSN_Pin PMOD_RESET_Pin STSAFE_A100_RESET_Pin */
  GPIO_InitStruct.Pin = USB_OTG_FS_PWR_EN_Pin|SPBTLE_RF_SPI3_CSN_Pin|PMOD_RESET_Pin|STSAFE_A100_RESET_Pin;
  GPIO_InitStruct.Mode = GPIO_MODE_OUTPUT_PP;
  GPIO_InitStruct.Pull = GPIO_NOPULL;
  GPIO_InitStruct.Speed = GPIO_SPEED_FREQ_LOW;
  HAL_GPIO_Init(GPIOD, &GPIO_InitStruct);

  /*Configure GPIO pins : VL53L0X_XSHUT_Pin LED3_WIFI__LED4_BLE_Pin */
  GPIO_InitStruct.Pin = VL53L0X_XSHUT_Pin|LED3_WIFI__LED4_BLE_Pin;
  GPIO_InitStruct.Mode = GPIO_MODE_OUTPUT_PP;
  GPIO_InitStruct.Pull = GPIO_NOPULL;
  GPIO_InitStruct.Speed = GPIO_SPEED_FREQ_LOW;
  HAL_GPIO_Init(GPIOC, &GPIO_InitStruct);

  /*Configure GPIO pins : VL53L0X_GPIO1_EXTI7_Pin LSM3MDL_DRDY_EXTI8_Pin */
  GPIO_InitStruct.Pin = VL53L0X_GPIO1_EXTI7_Pin|LSM3MDL_DRDY_EXTI8_Pin;
  GPIO_InitStruct.Mode = GPIO_MODE_IT_RISING;
  GPIO_InitStruct.Pull = GPIO_NOPULL;
  HAL_GPIO_Init(GPIOC, &GPIO_InitStruct);

  /*Configure GPIO pin : PMOD_SPI2_SCK_Pin */
  GPIO_InitStruct.Pin = PMOD_SPI2_SCK_Pin;
  GPIO_InitStruct.Mode = GPIO_MODE_AF_PP;
  GPIO_InitStruct.Pull = GPIO_NOPULL;
  GPIO_InitStruct.Speed = GPIO_SPEED_FREQ_VERY_HIGH;
  GPIO_InitStruct.Alternate = GPIO_AF5_SPI2;
  HAL_GPIO_Init(PMOD_SPI2_SCK_GPIO_Port, &GPIO_InitStruct);

  /*Configure GPIO pins : PMOD_UART2_CTS_Pin PMOD_UART2_RTS_Pin PMOD_UART2_TX_Pin PMOD_UART2_RX_Pin */
  GPIO_InitStruct.Pin = PMOD_UART2_CTS_Pin|PMOD_UART2_RTS_Pin|PMOD_UART2_TX_Pin|PMOD_UART2_RX_Pin;
  GPIO_InitStruct.Mode = GPIO_MODE_AF_PP;
  GPIO_InitStruct.Pull = GPIO_NOPULL;
  GPIO_InitStruct.Speed = GPIO_SPEED_FREQ_VERY_HIGH;
  GPIO_InitStruct.Alternate = GPIO_AF7_USART2;
  HAL_GPIO_Init(GPIOD, &GPIO_InitStruct);

  /*Configure GPIO pins : ARD_D15_Pin ARD_D14_Pin */
  GPIO_InitStruct.Pin = ARD_D15_Pin|ARD_D14_Pin;
  GPIO_InitStruct.Mode = GPIO_MODE_AF_OD;
  GPIO_InitStruct.Pull = GPIO_PULLUP;
  GPIO_InitStruct.Speed = GPIO_SPEED_FREQ_VERY_HIGH;
  GPIO_InitStruct.Alternate = GPIO_AF4_I2C1;
  HAL_GPIO_Init(GPIOB, &GPIO_InitStruct);

  /* EXTI interrupt init*/
  HAL_NVIC_SetPriority(EXTI9_5_IRQn, 0, 0);
  HAL_NVIC_EnableIRQ(EXTI9_5_IRQn);

  HAL_NVIC_SetPriority(EXTI15_10_IRQn, 0, 0);
  HAL_NVIC_EnableIRQ(EXTI15_10_IRQn);

}

void Error_Handler(void)
{
  __disable_irq();
  while (1)
  {
  }
}

/************************ (C) COPYRIGHT STMicroelectronics *****END OF FILE****/
